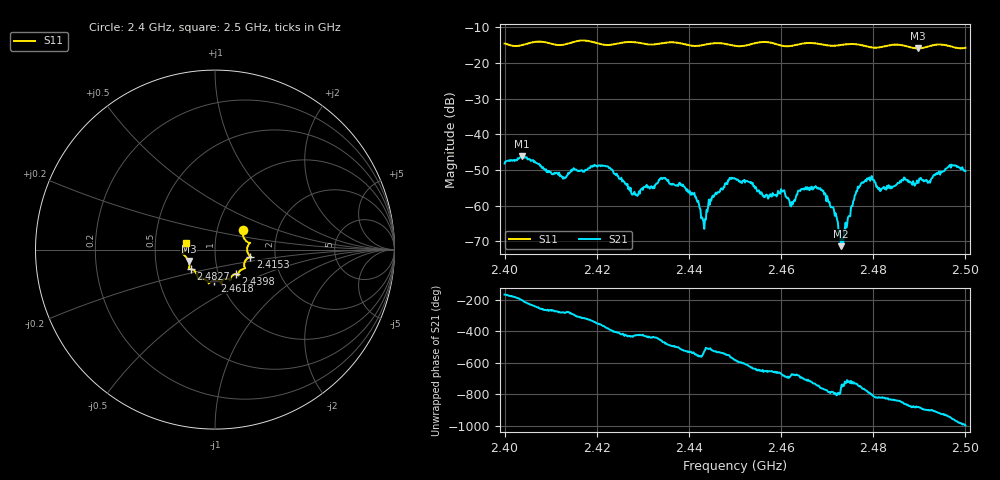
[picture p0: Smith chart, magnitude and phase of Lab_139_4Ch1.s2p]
# Hz S RI R 50
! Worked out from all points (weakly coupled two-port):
!   601 points, 2.4 GHz to 2.5 GHz, reference 50 ohm
!   highest |S21| = -46.09 dB at 2.4037 GHz (marker M1); lowest = -71.3 dB at 2.473 GHz (marker M2)
!   lowest |S11| = -15.9 dB at 2.4897 GHz (marker M3), VSWR 1.38, Z = 36.9 - j4.83 ohm
!   |S11| at or under -10 dB: start of sweep to end of sweep
!   S12 and S22 are empty: the file has one direction only
!   S11 on the Smith chart (normalised r, x): 2.4 GHz: 1.33, +0.29; 2.4153 GHz: 1.48, -0.12; 2.4398 GHz: 1.21, -0.34; 2.4618 GHz: 0.94, -0.33; 2.4827 GHz: 0.75, -0.17; 2.5 GHz: 0.72, +0.06
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2.4e9  0.1549 0.1066  -0.00381 -0.000893  0 0  0 0
2.403667e9  0.1705 0.051  -0.00464 0.00176  0 0  0 0
2.412833e9  0.1804 -0.0125  0.000431 0.00247  0 0  0 0
2.415333e9  0.1968 -0.0393  0.00166 0.00273  0 0  0 0
2.416667e9  0.2026 -0.0434  0.00218 0.00228  0 0  0 0
2.422333e9  0.1656 -0.0687  0.00332 -0.00133  0 0  0 0
2.428333e9  0.1654 -0.1049  0.000604 -0.00129  0 0  0 0
2.433333e9  0.1298 -0.1336  0.000137 -0.00213  0 0  0 0
2.439833e9  0.1156 -0.136  -0.00154 -0.00018  0 0  0 0
2.443167e9  0.0879 -0.1564  -0.000595 -1.61e-05  0 0  0 0
2.445167e9  0.084 -0.1695  -0.00132 -0.000421  0 0  0 0
2.45e9  0.0651 -0.1621  -0.00171 0.00168  0 0  0 0
2.461833e9  -0.00351 -0.1727  0.00102 0.000555  0 0  0 0
2.466667e9  -0.0348 -0.1882  0.00185 -0.000103  0 0  0 0
2.469667e9  -0.0452 -0.1724  0.000868 -0.00114  0 0  0 0
2.471667e9  -0.0666 -0.1621  0.000206 -0.000693  0 0  0 0
2.473e9  -0.0811 -0.1598  0.000207 -0.000175  0 0  0 0
2.477167e9  -0.0971 -0.1516  0.00169 -0.000893  0 0  0 0
2.482667e9  -0.1349 -0.1086  -0.000555 -0.0017  0 0  0 0
2.483333e9  -0.14 -0.1081  -0.000766 -0.00178  0 0  0 0
2.489667e9  -0.1469 -0.0637  -0.00198 -0.000684  0 0  0 0
2.5e9  -0.1592 0.0388  0.000449 0.00301  0 0  0 0
